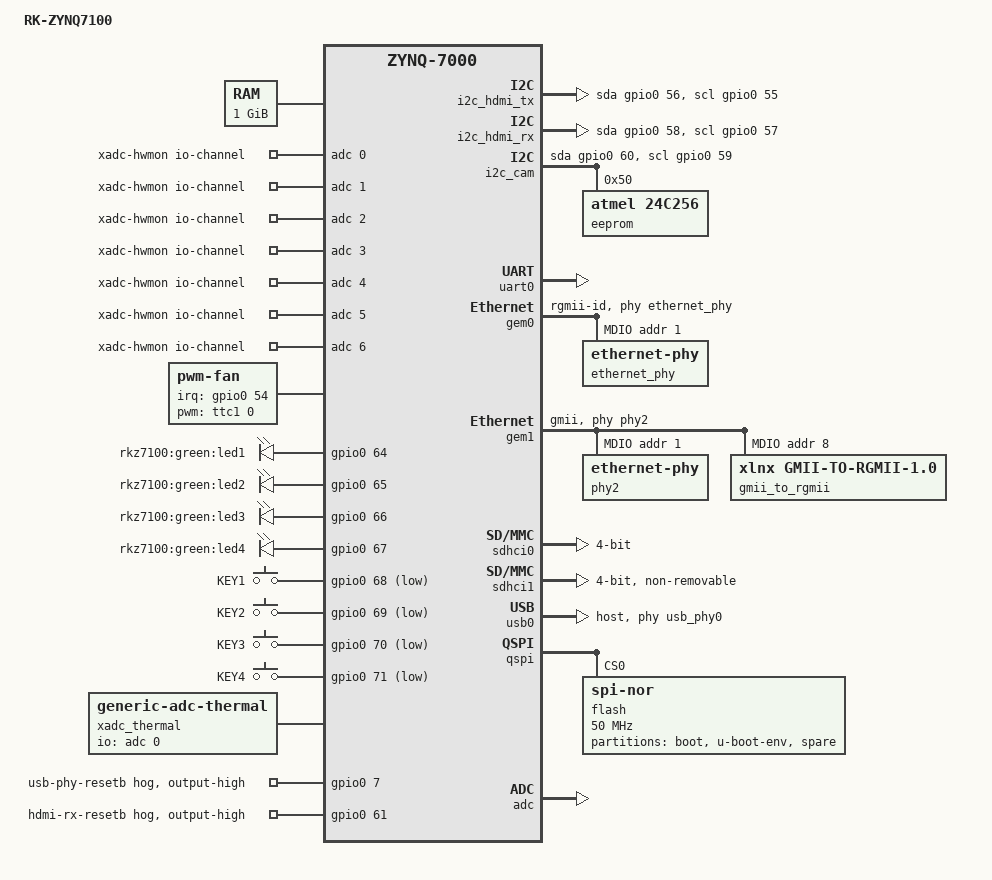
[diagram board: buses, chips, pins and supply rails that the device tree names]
// SPDX-License-Identifier: GPL-2.0
// SPDX-FileCopyrightText: 2026 Howard M. Harte
/*
 * RK-ZYNQ7100 (XC7Z100-2FFG900) device tree: the PS peripherals and the PL-pin
 * devices the PL bitstream hands to the PS.
 *
 * Pin assignment: the vendor schematic, sheet 2, and the tested PS7
 * configuration in board/ps7_config.tcl (from R0Y00/rk-zynq7100-fmcomms2-linux).
 * See ../../doc/RK_ZYNQ7100_User_Guide.md section 7.
 *
 *   MIO0-13    QSPI, dual parallel: 2x W25Q256FV = 64 MiB
 *   MIO7       USB PHY RESETB (through a diode; also a boot strap)
 *   MIO14/15   UART0 RX/TX      FT2232HQ channel B: the console
 *   MIO16-27   ENET0 RGMII      RTL8211F-CG "PHY1", address 1, 1.8 V I/O
 *   MIO28-39   USB0 ULPI        USB3320 -> USB-A (host) and USB-C (device)
 *   MIO40-45   SD0              microSD through a TXS02612 translator
 *   MIO46-51   SD1              KLM8G1GETF-B041 8 GB eMMC, 4-bit
 *   MIO52/53   ENET0 MDC/MDIO
 *
 * MIO bank 500 is 3.3 V, bank 501 is 1.8 V. PS_CLK is 33.333 MHz.
 * The PL-pin nodes below (GEM1, I2C, LEDs, keys, fan, BIST) work only with a
 * bitstream loaded; HDMI and camera capture are in zynq-rkz7100-hdmirx.dts,
 * and PCIe, SATA and the FMC have no nodes.
 */

/dts-v1/;

#include <dt-bindings/gpio/gpio.h>
#include <dt-bindings/interrupt-controller/irq.h>
#include <dt-bindings/input/input.h>
#include "xilinx/zynq-7000.dtsi"

/ {
	model = "RK-ZYNQ7100";
	compatible = "rk,zynq-z7100", "xlnx,zynq-7000";

	aliases {
		ethernet0 = &gem0;
		ethernet1 = &gem1;
		serial0 = &uart0;
		spi0 = &qspi;
		mmc0 = &sdhci0;
		mmc1 = &sdhci1;
		usb0 = &usb0;
	};

	chosen {
		bootargs = "earlycon";
		stdout-path = "serial0:115200n8";
	};

	/* 2x MT41J256M16, 32-bit: 1 GiB. */
	memory@0 {
		device_type = "memory";
		reg = <0x0 0x40000000>;
	};

	/*
	 * ULPI viewport of USB0, as zynq-zc702.dts does it. drv-vbus makes the
	 * USB3320 assert CPEN, which turns on the TPS2051 feeding the USB-A
	 * connector's VBUS (LED2 lights).
	 */
	usb_phy0: phy0@e0002000 {
		compatible = "ulpi-phy";
		#phy-cells = <0>;
		reg = <0xe0002000 0x1000>;
		view-port = <0x0170>;
		drv-vbus;
	};

	/*
	 * The XADC's die temperature and the PS/PL supply rails, in hwmon
	 * where `sensors` and anything else looking for a temperature will
	 * find them. The numbers are the index into the driver's channel
	 * array (drivers/iio/adc/xilinx-xadc-core.c, xadc_7s_channels):
	 * 0 temp, then vccint, vccaux, vccbram, vccpint, vccpaux, vccoddr.
	 * vrefp/vrefn (7, 8) are the converter's own references and are left
	 * out; they say nothing about the board.
	 */
	xadc-hwmon {
		compatible = "iio-hwmon";
		io-channels = <&adc 0>, <&adc 1>, <&adc 2>, <&adc 3>,
			      <&adc 4>, <&adc 5>, <&adc 6>;
	};

	/*
	 * The fan on J10. Its PWM comes from TTC1 channel 0 through EMIO and
	 * the PL (fan_pwm in pl/board/rtl/fan_ctrl.v, which inverts it for the
	 * board's NPN), so this node only does anything with a bitstream
	 * loaded. Without one the fan is OFF, not free-running: PUDC_B is
	 * strapped low, so the pull-ups hold W21 high and the transistor holds
	 * the fan's PWM line down. Measured: about 8 C hotter that way.
	 *
	 * 40000 ns = 25 kHz, the speed-control frequency 4-wire fans expect.
	 * cooling-levels are duty cycles out of 255 and become thermal cooling
	 * states 0..4; software can also just write pwm1 under hwmon.
	 */
	fan: pwm-fan {
		compatible = "pwm-fan";
		pwms = <&ttc1 0 40000 0>;

		/*
		 * The tachometer, through EMIO GPIO 0 = Zynq GPIO 54, which
		 * the PL drives from FAN_TACH. pwm-fan counts the edges and
		 * publishes fan1_input in rpm.
		 *
		 * pulses-per-revolution is the FAN's property, not the
		 * board's: 2 is what almost every 4-wire fan does and what
		 * the one fitted here is assumed to do. If a different fan
		 * goes on, the PL's FAN_STATUS register still counts raw
		 * pulses per second and settles the question.
		 */
		interrupt-parent = <&gpio0>;
		interrupts = <54 IRQ_TYPE_EDGE_FALLING>;
		pulses-per-revolution = <2>;

		/*
		 * Cooling states 0..4. State 0 is deliberately NOT zero: a
		 * zero duty stops the waveform, and the PL reads a stopped
		 * waveform as "nobody is driving this" and forces full speed
		 * (see fan_ctrl.v). A 25% floor keeps the waveform alive, so
		 * the thermal governor's idle state is a quiet fan rather
		 * than a loud one, and the tachometer keeps reading.
		 */
		cooling-levels = <64 102 153 204 255>;
		#cooling-cells = <2>;
	};

	/*
	 * A landing zone for the PL's BIST engines.
	 *
	 * The engines in pl/board/rtl/axi_bist.v are AXI masters on S_AXI_HP1 and
	 * HP2. They write wherever their ADDR register points, with no bounds
	 * check of any kind and at 64 bits a clock -- so they need somewhere that
	 * is definitely not Linux's. This is the top 16 MB of the 1 GB of PS DRAM.
	 *
	 * ⚠ `no-map` is doing two jobs. It keeps the kernel out, and it keeps the
	 * region out of the kernel's linear map, so /dev/mem hands it back
	 * UNCACHED. That second part is not a detail: the HP ports are not
	 * coherent with the CPU's caches, so a cached mapping would let the CPU
	 * read stale lines and blame the memory. Nothing in the fabric can tell
	 * those two apart.
	 */
	reserved-memory {
		#address-cells = <1>;
		#size-cells = <1>;
		ranges;

		bist_buf: bist-buffer@3f000000 {
			reg = <0x3f000000 0x1000000>;
			no-map;
		};
	};

	/*
	 * LED1-4 and KEY1-4, as EMIO GPIOs, so they are an ordinary LED class
	 * and an ordinary input device rather than bits in a register only
	 * devmem can reach. Linux gpio numbers are 54 + the EMIO bit the PL
	 * wires: 64..67 for the LEDs and 68..71 for the keys.
	 *
	 * The bicolor LED8 is deliberately NOT here. It stays driven by the
	 * fabric (pl/board/rtl/axi4_regs.v) so the board still says whether the
	 * PL is configured and clocked when no software is running at all.
	 *
	 * Like everything else on PL pins, these exist only once a bitstream
	 * is loaded -- U-Boot does that before the kernel starts.
	 */
	leds {
		compatible = "gpio-leds";

		led-1 {
			label = "rkz7100:green:led1";
			gpios = <&gpio0 64 GPIO_ACTIVE_HIGH>;
			/* Something visible that means "the kernel is alive".
			 * `echo none > trigger` hands it back to you. */
			linux,default-trigger = "heartbeat";
		};

		led-2 {
			label = "rkz7100:green:led2";
			gpios = <&gpio0 65 GPIO_ACTIVE_HIGH>;
			default-state = "off";
		};

		led-3 {
			label = "rkz7100:green:led3";
			gpios = <&gpio0 66 GPIO_ACTIVE_HIGH>;
			default-state = "off";
		};

		led-4 {
			label = "rkz7100:green:led4";
			gpios = <&gpio0 67 GPIO_ACTIVE_HIGH>;
			default-state = "off";
		};
	};

	/*
	 * The four push buttons. They pull to ground against 4.7K pull-ups, so
	 * active low; gpio-keys debounces in software, which is what these are
	 * for -- they are mechanical and nothing here is time-critical.
	 */
	keys {
		compatible = "gpio-keys";
		autorepeat;

		key-1 {
			label = "KEY1";
			linux,code = <KEY_1>;
			gpios = <&gpio0 68 GPIO_ACTIVE_LOW>;
			debounce-interval = <20>;
		};

		key-2 {
			label = "KEY2";
			linux,code = <KEY_2>;
			gpios = <&gpio0 69 GPIO_ACTIVE_LOW>;
			debounce-interval = <20>;
		};

		key-3 {
			label = "KEY3";
			linux,code = <KEY_3>;
			gpios = <&gpio0 70 GPIO_ACTIVE_LOW>;
			debounce-interval = <20>;
		};

		key-4 {
			label = "KEY4";
			linux,code = <KEY_4>;
			gpios = <&gpio0 71 GPIO_ACTIVE_LOW>;
			debounce-interval = <20>;
		};
	};

	/*
	 * The PL register file and the two BIST engines' interrupts.
	 *
	 * The registers themselves are reached through /dev/mem -- they are a
	 * bring-up facility, not a device with a driver. What needs the kernel is
	 * the INTERRUPT: IRQ_F2P[0], [1] and [5] are GIC 61, 62 and 66, which is
	 * SPI 29, 30 and 34 here (the device tree numbers shared peripheral
	 * interrupts from 32). Engines 0 and 1 sweep PS DRAM over the HP ports;
	 * engine 2 sweeps the PL DDR3 through the MIG.
	 *
	 * uio_pdrv_genirq takes one interrupt per device, so there is one node per
	 * engine, each mapping that engine's own 64-byte register window. Reading
	 * 4 bytes from /dev/uioN blocks until the engine interrupts, which is what
	 * turns "poll a status bit" into "wait for the hardware".
	 *
	 * ⚠ These exist only with a bitstream loaded. Without one the address
	 * decodes to nothing and a read HANGS THE CPU -- U-Boot loads the
	 * bitstream before the kernel starts for exactly this reason.
	 */
	pl_bist0: pl-bist@80100040 {
		compatible = "generic-uio";
		reg = <0x80100040 0x40>;
		interrupt-parent = <&intc>;
		interrupts = <0 29 IRQ_TYPE_LEVEL_HIGH>;
	};

	pl_bist1: pl-bist@80100080 {
		compatible = "generic-uio";
		reg = <0x80100080 0x40>;
		interrupt-parent = <&intc>;
		interrupts = <0 30 IRQ_TYPE_LEVEL_HIGH>;
	};

	pl_bist2: pl-bist@80100140 {
		compatible = "generic-uio";
		reg = <0x80100140 0x40>;
		interrupt-parent = <&intc>;
		interrupts = <0 34 IRQ_TYPE_LEVEL_HIGH>;
	};

	/*
	 * The board's I2C buses, bit-banged over EMIO GPIOs.
	 *
	 * Every one of them is on PL pins, so none of this works without a
	 * bitstream that instantiates emio_pads.v -- see ../../pl/. The gpio
	 * numbers are 54 + the EMIO bit the PL wired, and the PL fixes that
	 * order: 55/56 HDMI TX, 57/58 HDMI RX, 59/60 camera, 61 ADV7611 reset.
	 *
	 * GPIO_OPEN_DRAIN is what makes these real I2C lines: gpiolib then
	 * releases a line by turning the pin into an input rather than driving
	 * it high, and the board's pull-ups do the rest. Without it two
	 * devices driving opposite levels would be a short.
	 *
	 * delay-us = 5 is a half period, so about 100 kHz.
	 */
	i2c_hdmi_tx: i2c-hdmi-tx {
		compatible = "i2c-gpio";
		scl-gpios = <&gpio0 55 (GPIO_ACTIVE_HIGH | GPIO_OPEN_DRAIN)>;
		sda-gpios = <&gpio0 56 (GPIO_ACTIVE_HIGH | GPIO_OPEN_DRAIN)>;
		i2c-gpio,delay-us = <5>;
		#address-cells = <1>;
		#size-cells = <0>;
	};

	i2c_hdmi_rx: i2c-hdmi-rx {
		compatible = "i2c-gpio";
		scl-gpios = <&gpio0 57 (GPIO_ACTIVE_HIGH | GPIO_OPEN_DRAIN)>;
		sda-gpios = <&gpio0 58 (GPIO_ACTIVE_HIGH | GPIO_OPEN_DRAIN)>;
		i2c-gpio,delay-us = <5>;
		#address-cells = <1>;
		#size-cells = <0>;
	};

	/* Shared: the MIPI camera connector and the AT24C256 at 0x50. */
	i2c_cam: i2c-cam {
		compatible = "i2c-gpio";
		scl-gpios = <&gpio0 59 (GPIO_ACTIVE_HIGH | GPIO_OPEN_DRAIN)>;
		sda-gpios = <&gpio0 60 (GPIO_ACTIVE_HIGH | GPIO_OPEN_DRAIN)>;
		i2c-gpio,delay-us = <5>;
		#address-cells = <1>;
		#size-cells = <0>;

		/*
		 * Writable. R102 4.7K pulls WP to GROUND (schematic sheet 11),
		 * and on this part WP is active high -- low means writes are
		 * allowed. A byte written at offset 0x100 reads back.
		 *
		 * ⚠ The first 19 bytes hold the factory timestamp, the only
		 * record on this board of when it was made. Do not write over
		 * it casually; the MAC addresses follow at 0x20 and 0x26, and the rest is 0xFF.
		 */
		eeprom: eeprom@50 {
			compatible = "atmel,24c256";
			reg = <0x50>;
			pagesize = <64>;

			/*
			 * ⚠ The cells live in a fixed-layout node, NOT as
			 * direct children of the EEPROM. In this kernel at24 does
			 * not set add_legacy_fixed_of_cells, so child-node cells
			 * are never registered and every lookup of them fails.
			 */
			nvmem-layout {
				compatible = "fixed-layout";
				#address-cells = <1>;
				#size-cells = <1>;

				/*
				 * The PS Ethernet MAC, 6 raw bytes at 0x20 -- past
				 * the factory timestamp and before the 0xFF. U-Boot
				 * reads the same bytes in PREBOOT.
				 */
				eth0_mac: mac-address@20 {
					reg = <0x20 6>;
				};

				/* The PL Ethernet port's: the next address up. */
				eth1_mac: mac-address@26 {
					reg = <0x26 6>;
				};
			};
		};
	};

	/*
	 * The XADC's die temperature as a thermal sensor. No lookup table is
	 * needed: the channel is IIO_TEMP, so thermal-generic-adc takes the
	 * processed value as millicelsius, which is exactly what the driver's
	 * scale and offset produce.
	 */
	xadc_thermal: xadc-thermal {
		compatible = "generic-adc-thermal";
		#thermal-sensor-cells = <0>;
		io-channels = <&adc 0>;
		io-channel-names = "sensor-channel";
	};

	/*
	 * Fan control with no daemon: the step_wise governor moves the fan
	 * between the cooling states above as the die crosses these trips.
	 *
	 * The numbers come from what this board actually does (see
	 * ../../doc/RK_ZYNQ7100_User_Guide.md section 9): 33-38 C with the fan
	 * running and the high 40s with it stopped, both with the PL nearly
	 * empty, so an idle board sits below the first trip and the fan stays
	 * at its floor. A real design in the PL will sit higher, and the trips
	 * are spaced to reach full speed well before anything is in danger.
	 *
	 * There is deliberately no "critical" trip. On this part it would mean
	 * an orderly shutdown mid-experiment, and a bench board that turns
	 * itself off is worse than a warm one; the fan reaching full speed at
	 * 75 C is the last automatic step.
	 */
	thermal-zones {
		die-thermal {
			polling-delay = <5000>;
			polling-delay-passive = <2000>;
			thermal-sensors = <&xadc_thermal>;

			trips {
				die_warm: die-warm {
					temperature = <45000>;
					hysteresis = <4000>;
					type = "active";
				};
				die_hot: die-hot {
					temperature = <55000>;
					hysteresis = <4000>;
					type = "active";
				};
				die_hotter: die-hotter {
					temperature = <65000>;
					hysteresis = <4000>;
					type = "active";
				};
				die_max: die-max {
					temperature = <75000>;
					hysteresis = <4000>;
					type = "active";
				};
			};

			cooling-maps {
				map0 {
					trip = <&die_warm>;
					cooling-device = <&fan 1 1>;
				};
				map1 {
					trip = <&die_hot>;
					cooling-device = <&fan 2 2>;
				};
				map2 {
					trip = <&die_hotter>;
					cooling-device = <&fan 3 3>;
				};
				map3 {
					trip = <&die_max>;
					cooling-device = <&fan 4 4>;
				};
			};
		};
	};
};

&clkc {
	ps-clk-frequency = <33333333>;
	fclk-enable = <0xf>;
};

/* FT2232HQ channel B, through a TXS0102: the console. */
&uart0 {
	status = "okay";
};

/*
 * PS Ethernet. RTL8211F-CG strapped to address 1 (schematic: "PHY1 ADDR 001").
 * The PHY's reset (PHYRSTB) is only pulled up -- there is no GPIO to declare.
 * rgmii-id with CONFIG_REALTEK_PHY: the driver programs the RTL8211F's
 * internal TX/RX delays.
 */
&gem0 {
	status = "okay";
	phy-mode = "rgmii-id";
	phy-handle = <&ethernet_phy>;

	/*
	 * The MAC address. U-Boot's PREBOOT reads it from the EEPROM and fixes
	 * it into this node as local-mac-address, and of_get_mac_address()
	 * takes that FIRST -- mac-address, local-mac-address and address all
	 * come before an nvmem cell. The cell below is the fallback for a boot
	 * where U-Boot did not supply one, and it also makes gem0 wait for the
	 * EEPROM to bind, which keeps it probing before GEM1 (see &gem1).
	 *
	 * ⚠ The EEPROM is on PL pins. The cell can be read only if something
	 * configured the PL before gem0 probed -- U-Boot's PREBOOT does.
	 */
	nvmem-cells = <&eth0_mac>;
	nvmem-cell-names = "mac-address";

	mdio {
		#address-cells = <1>;
		#size-cells = <0>;

		ethernet_phy: ethernet-phy@1 {
			reg = <1>;
		};
	};
};

/*
 * The PL Ethernet port, RJ2. PHY2 (U19) is wired entirely to the PL, so its
 * MAC is the PS's second controller, GEM1, brought out over EMIO as GMII and
 * converted to RGMII by Xilinx's gmii_to_rgmii core in the PL bitstream. The
 * core also carries GEM1's MDIO through to the PHY.
 *
 * phy-handle names the REAL PHY. The converter is a second device on the same
 * bus, at address 8: xilinx_gmii2rgmii attaches to PHY2 and writes the
 * negotiated speed into the core's register after every status read. Without
 * it the core stays at its reset speed and only one link rate passes traffic.
 *
 * phy-mode is "gmii" -- GEM1 to the core is GMII -- and that also leaves
 * PHY2's RGMII delays as strapped. The core's timing assumes the PHY delays
 * both clocks internally, which is the RTL8211F's strapped default.
 *
 * ⚠ GEM1's clocks must come from EMIO. The boot's PS init does not route
 * them there, because ENET1 is enabled only in the full design's PS
 * configuration; board/S15fpga sets GEM1_RCLK_CTRL and GEM1_CLK_CTRL before
 * networking starts. The kernel's clock driver will not switch that mux
 * itself.
 *
 * ⚠ The MAC comes from the EEPROM, like eth0's, and that also fixes the
 * NAMES. The EEPROM is on PL-pin I2C, so a controller that reads its MAC from
 * it defers until at24 binds. With a MAC written into the device tree instead,
 * GEM1 does not wait, probes first and takes eth0 -- and the boot's DHCP, which
 * runs on eth0, moves to this port. With both reading the EEPROM, both defer,
 * and they are retried in device-tree order: GEM0 is eth0, GEM1 is eth1.
 */
&gem1 {
	status = "okay";
	phy-mode = "gmii";
	phy-handle = <&phy2>;
	nvmem-cells = <&eth1_mac>;
	nvmem-cell-names = "mac-address";

	mdio {
		#address-cells = <1>;
		#size-cells = <0>;

		/* Strapped to address 001, the same as PHY1 -- different bus. */
		phy2: ethernet-phy@1 {
			reg = <1>;
		};

		gmii_to_rgmii: gmii-to-rgmii@8 {
			compatible = "xlnx,gmii-to-rgmii-1.0";
			reg = <8>;
			phy-handle = <&phy2>;
		};
	};
};

/*
 * microSD. A fixed TXS02612 translator sits between the 1.8 V MIO bank and
 * the 3.3 V card, so no voltage switching; and the card-detect contact is not
 * wired to the PS, so poll for insertion rather than miss a late card.
 */
&sdhci0 {
	status = "okay";
	bus-width = <4>;
	disable-wp;
	no-1-8-v;
	broken-cd;
};

/* On-board eMMC, 4 data lines wired (MIO46-51). */
&sdhci1 {
	status = "okay";
	bus-width = <4>;
	non-removable;
	disable-wp;
	no-1-8-v;
	cap-mmc-highspeed;
};

/*
 * USB0: host mode on the USB-A connector. For the USB-C connector as a
 * device (the configuration rk-zynq7100-fmcomms2-linux validated), boot
 * zynq-rkz7100-usbdev.dtb instead.
 */
&usb0 {
	status = "okay";
	dr_mode = "host";
	usb-phy = <&usb_phy0>;
};

/*
 * Dual-parallel QSPI: two W25Q256FV, 32 MiB each, one on each chip select,
 * read as one 64 MiB device. Same binding as zynq-zc706.dts in this kernel.
 * The FMCOMMS2 port reports a harmless SPI-NOR "EAR" warning here; flashcp to
 * /dev/mtd0 rewrites the boot partition from Linux.
 */
&qspi {
	status = "okay";
	num-cs = <2>;

	flash@0 {
		compatible = "jedec,spi-nor";
		reg = <0>, <1>;
		parallel-memories = /bits/ 64 <0x2000000 0x2000000>;
		spi-tx-bus-width = <1>;
		spi-rx-bus-width = <4>;
		spi-max-frequency = <50000000>;

		partitions {
			compatible = "fixed-partitions";
			#address-cells = <1>;
			#size-cells = <1>;

			partition@0 {
				label = "boot";
				reg = <0x0 0xe00000>;
			};
			partition@e00000 {
				label = "u-boot-env";
				reg = <0xe00000 0x80000>;
			};
			partition@e80000 {
				label = "spare";
				reg = <0xe80000 0x3180000>;
			};
		};
	};
};

/*
 * MIO7 is the USB3320's RESETB, through a diode, and also a boot strap with a
 * 20K pull-down. The PS7 init leaves it a GPIO with TRI_ENABLE=1 in its SLCR
 * pin register, which overrides the GPIO block's output enable -- so a hog
 * alone "drives" a pin that is still floating (measured: DIRM/OEN/DATA bit 7
 * all set, MIO_PIN_07 = 0x601, RESETB left on the divider near 1.3 V).
 * bias-disable makes pinctrl-zynq clear TRI_ENABLE (and the pull-up); the hog
 * then really holds the PHY out of reset. The reset PULSE the PHY needs after
 * power-up is U-Boot's (CONFIG_PREBOOT in uboot-rkz7100.fragment).
 */
&pinctrl0 {
	pinctrl_usb_phy_reset: usb-phy-reset {
		mux {
			groups = "gpio0_7_grp";
			function = "gpio0";
		};
		conf {
			pins = "MIO7";
			bias-disable;
			io-standard = <3>;	/* LVCMOS33: bank 500 */
		};
	};
};

&gpio0 {
	status = "okay";
	emio-gpio-width = <64>;

	/*
	 * Names for `gpioinfo`, so the header is self-describing from Linux:
	 * a line reads J8.4-IO1_P rather than "line 72", where 4 is the
	 * physical pin on J8. Offsets 0..53 are the MIO pins and are left
	 * unnamed; 54..110 are the EMIO bits the PL wires out. Cosmetic only
	 * -- naming a line neither claims it nor changes its direction.
	 *
	 * ⚠ These names describe what the BITSTREAM wires, not the silicon.
	 * With no bitstream loaded, EMIO 18..51 reach no pin at all and the
	 * J8 names are a promise nothing keeps.
	 */
	gpio-line-names =
		"", "", "", "",	/* 0 */
		"", "", "", "usb-phy-resetb",	/* 4 */
		"", "", "", "",	/* 8 */
		"", "", "", "",	/* 12 */
		"", "", "", "",	/* 16 */
		"", "", "", "",	/* 20 */
		"", "", "", "",	/* 24 */
		"", "", "", "",	/* 28 */
		"", "", "", "",	/* 32 */
		"", "", "", "",	/* 36 */
		"", "", "", "",	/* 40 */
		"", "", "", "",	/* 44 */
		"", "", "", "",	/* 48 */
		"", "", "fan-tach", "hdmi-tx-scl",	/* 52 */
		"hdmi-tx-sda", "hdmi-rx-scl", "hdmi-rx-sda", "cam-scl",	/* 56 */
		"cam-sda", "hdmi-rx-resetb", "cam-gpio", "cam-clk",	/* 60 */
		"led1", "led2", "led3", "led4",	/* 64 */
		"key1", "key2", "key3", "key4",	/* 68 */
		"J8.4-IO1_P", "J8.3-IO1_N", "J8.6-IO2_P", "J8.5-IO2_N",	/* 72 */
		"J8.8-IO3_P", "J8.7-IO3_N", "J8.10-IO4_P", "J8.9-IO4_N",	/* 76 */
		"J8.12-IO5_P", "J8.11-IO5_N", "J8.14-IO6_P", "J8.13-IO6_N",	/* 80 */
		"J8.16-IO7_P", "J8.15-IO7_N", "J8.18-IO8_P", "J8.17-IO8_N",	/* 84 */
		"J8.20-IO9_P", "J8.19-IO9_N", "J8.22-IO10_P", "J8.21-IO10_N",	/* 88 */
		"J8.24-IO11_P", "J8.23-IO11_N", "J8.26-IO12_P", "J8.25-IO12_N",	/* 92 */
		"J8.28-IO13_P", "J8.27-IO13_N", "J8.30-IO14_P", "J8.29-IO14_N",	/* 96 */
		"J8.32-IO15_P", "J8.31-IO15_N", "J8.34-IO16_P", "J8.33-IO16_N",	/* 100 */
		"J8.36-IO17_P", "J8.35-IO17_N",	/* 104 */
		/*
		 * The SFP cages. TX_DISABLE is active HIGH and pulled up on the
		 * board, so a module transmits only while Linux holds the line
		 * low -- `gpioset gpiochip0 106=0` enables SFP1. Releasing it,
		 * or anything crashing, turns the transmitter off again.
		 */
		"SFP1-TX_DISABLE", "SFP2-TX_DISABLE",	/* 106 */
		"SFP1-LOS", "SFP2-LOS",	/* 108 */
		"csi2rx-video-reset";	/* 110 */
	pinctrl-names = "default";
	pinctrl-0 = <&pinctrl_usb_phy_reset>;

	usb-phy-reset-hog {
		gpio-hog;
		gpios = <7 GPIO_ACTIVE_HIGH>;
		output-high;
		line-name = "usb-phy-resetb";
	};

	/*
	 * EMIO GPIO 7 (gpio 61): the ADV7611's RESET, active low, with a 4.7K
	 * pull-down on the board. Until this is driven high the chip is held
	 * in reset and does not answer on I2C at all. Unlike the USB PHY hog
	 * above, this one reaches its pin only with a bitstream loaded.
	 */
	hdmi-rx-reset-hog {
		gpio-hog;
		gpios = <61 GPIO_ACTIVE_HIGH>;
		output-high;
		line-name = "hdmi-rx-resetb";
	};
};

/*
 * XADC. #io-channel-cells lets the iio-hwmon node above consume its channels;
 * the driver itself needs nothing beyond status.
 */
&adc {
	status = "okay";
	#io-channel-cells = <1>;
};

/*
 * TTC1 as a PWM rather than a timer. #pwm-cells is what decides that: the
 * clocksource driver refuses a TTC node that has it, and pwm-cadence refuses
 * one that does not. TTC0 is left as it was -- the kernel registers it as
 * ttc_clocksource (arm_global_timer is what actually gets used).
 *
 * Only channel 0 is wired out in the PL, to the fan. The cells are
 * <channel period-ns flags>.
 */
&ttc1 {
	#pwm-cells = <3>;
};
